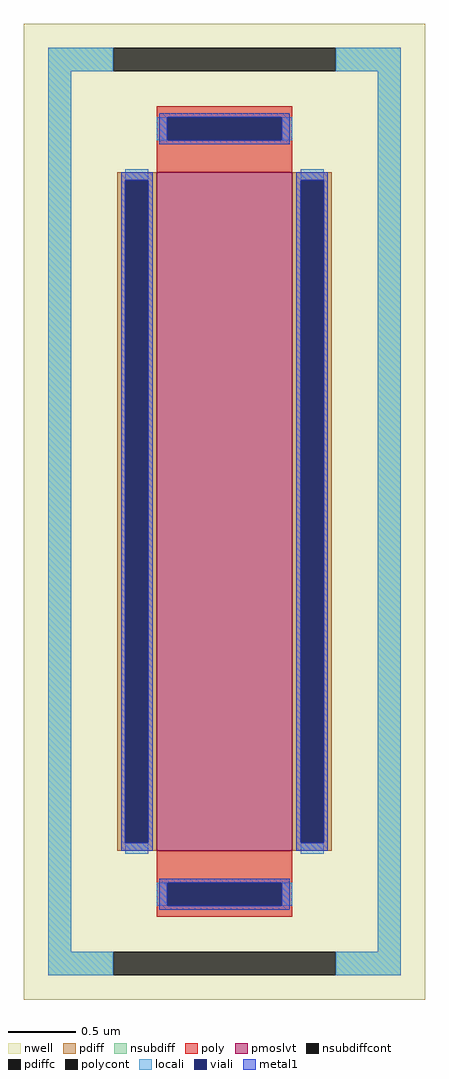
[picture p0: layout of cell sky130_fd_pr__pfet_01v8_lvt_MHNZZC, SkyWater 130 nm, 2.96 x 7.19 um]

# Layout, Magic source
magic
tech sky130A
magscale 1 2
<< nwell >>
rect -296 -719 296 719
<< pmoslvt >>
rect -100 -500 100 500
<< pdiff >>
rect -158 488 -100 500
rect -158 -488 -146 488
rect -112 -488 -100 488
rect -158 -500 -100 -488
rect 100 488 158 500
rect 100 -488 112 488
rect 146 -488 158 488
rect 100 -500 158 -488
<< pdiffc >>
rect -146 -488 -112 488
rect 112 -488 146 488
<< nsubdiff >>
rect -260 649 -164 683
rect 164 649 260 683
rect -260 -649 -226 649
rect 226 -649 260 649
rect -260 -683 -164 -649
rect 164 -683 260 -649
<< nsubdiffcont >>
rect -164 649 164 683
rect -164 -683 164 -649
<< poly >>
rect -100 581 100 597
rect -100 547 -84 581
rect 84 547 100 581
rect -100 500 100 547
rect -100 -547 100 -500
rect -100 -581 -84 -547
rect 84 -581 100 -547
rect -100 -597 100 -581
<< polycont >>
rect -84 547 84 581
rect -84 -581 84 -547
<< locali >>
rect -260 649 -164 683
rect 164 649 260 683
rect -260 -649 -226 649
rect -100 547 -84 581
rect 84 547 100 581
rect -146 488 -112 504
rect -146 -504 -112 -488
rect 112 488 146 504
rect 112 -504 146 -488
rect -100 -581 -84 -547
rect 84 -581 100 -547
rect 226 -649 260 649
rect -260 -683 -164 -649
rect 164 -683 260 -649
<< viali >>
rect -84 547 84 581
rect -146 -488 -112 488
rect 112 -488 146 488
rect -84 -581 84 -547
<< metal1 >>
rect -96 581 96 587
rect -96 547 -84 581
rect 84 547 96 581
rect -96 541 96 547
rect -152 488 -106 500
rect -152 -488 -146 488
rect -112 -488 -106 488
rect -152 -500 -106 -488
rect 106 488 152 500
rect 106 -488 112 488
rect 146 -488 152 488
rect 106 -500 152 -488
rect -96 -547 96 -541
rect -96 -581 -84 -547
rect 84 -581 96 -547
rect -96 -587 96 -581
<< properties >>
string FIXED_BBOX -243 -666 243 666
string gencell sky130_fd_pr__pfet_01v8_lvt
string library sky130
string parameters w 5 l 1 m 1 nf 1 diffcov 100 polycov 100 guard 1 glc 0 grc 0 gtc 1 gbc 1 tbcov 100 rlcov 100 topc 1 botc 1 poverlap 0 doverlap 1 lmin 0.35 wmin 0.42 compatible {sky130_fd_pr__pfet_01v8  sky130_fd_pr__pfet_01v8_lvt sky130_fd_pr__pfet_01v8_hvt  sky130_fd_pr__pfet_g5v0d10v5} full_metal 1 viasrc 100 viadrn 100 viagate 100 viagb 0 viagr 0 viagl 0 viagt 0
<< end >>
